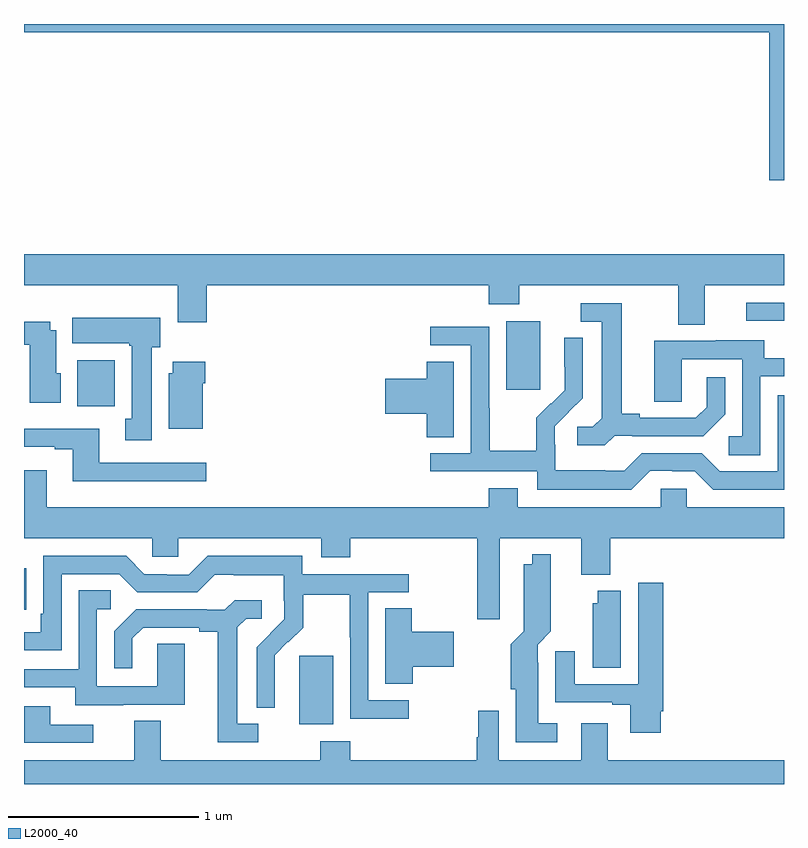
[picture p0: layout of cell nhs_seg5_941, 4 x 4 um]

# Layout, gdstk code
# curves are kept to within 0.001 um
import gdstk
lib = gdstk.Library(unit=1e-6, precision=1e-09)
def R(c, l, rs):  # rectangles x0, y0, x1, y1
    for r in rs: c.add(gdstk.rectangle(r[:2], r[2:], *l))
def P(c, l, *ps):  # polygons
    for p in ps: c.add(gdstk.Polygon(p, *l))
L2000_40 = (2000, 40)

nhs_seg5_941 = lib.new_cell('nhs_seg5_941')
R(nhs_seg5_941, L2000_40, [(172.448,857.114,172.627,857.475), (171,857.716,171.011,857.935), (171.281,858.788,171.478,859.03), (173.537,858.873,173.716,859.234), (174.801,859.236,175,859.332)])
P(nhs_seg5_941, L2000_40, [(175,860.799),(171,860.799),(171,860.756),(174.923,860.756),(174.923,859.977),(175,859.977)],
  [(174.583,859.424),(175,859.424),(175,859.588),(171,859.588),(171,859.424),(171.809,859.424),(171.809,859.23),(171.962,859.23),(171.962,859.424),(173.447,859.424),(173.447,859.325),(173.607,859.325),(173.607,859.424),(174.443,859.424),(174.443,859.216),(174.583,859.216)],
  [(174.108,858.633),(174.202,858.633),(174.202,858.63),(174.574,858.63),(174.69,858.746),(174.69,858.94),(174.593,858.94),(174.593,858.783),(174.536,858.726),(174.241,858.726),(174.241,858.749),(174.145,858.749),(174.145,859.329),(173.931,859.329),(173.931,859.233),(174.041,859.233),(174.041,858.725),(173.994,858.678),(173.913,858.678),(173.913,858.581),(174.056,858.581)],
  [(171.673,859.098),(171.718,859.098),(171.718,859.252),(171.254,859.252),(171.254,859.118),(171.553,859.118),(171.553,859.105),(171.566,859.105),(171.566,858.722),(171.533,858.722),(171.533,858.609),(171.673,858.609)],
  [(171.193,858.96),(171.169,858.96),(171.169,859.186),(171.139,859.186),(171.139,859.231),(171,859.231),(171,859.112),(171.029,859.112),(171.029,858.806),(171.193,858.806)],
  [(174.297,858.447),(174.413,858.447),(174.413,858.444),(174.531,858.444),(174.627,858.348),(175,858.348),(175,858.846),(174.966,858.846),(174.966,858.444),(174.663,858.444),(174.567,858.54),(174.252,858.54),(174.159,858.447),(174.059,858.447),(174.059,858.451),(173.796,858.451),(173.796,858.585),(173.794,858.585),(173.794,858.682),(173.94,858.83),(173.94,859.148),(173.844,859.148),(173.844,858.994),(173.846,858.994),(173.846,858.872),(173.775,858.801),(173.772,858.804),(173.695,858.727),(173.695,858.553),(173.451,858.553),(173.451,858.776),(173.448,858.776),(173.448,859.206),(173.139,859.206),(173.139,859.107),(173.352,859.107),(173.352,858.54),(173.139,858.54),(173.139,858.444),(173.7,858.444),(173.7,858.347),(174.197,858.347)],
  [(174.876,858.945),(175,858.945),(175,859.041),(174.895,859.041),(174.895,859.135),(174.641,859.135),(174.641,859.131),(174.317,859.131),(174.317,858.811),(174.462,858.811),(174.462,859.035),(174.78,859.035),(174.78,858.63),(174.708,858.63),(174.708,858.529),(174.876,858.529)],
  [(173.263,859.022),(173.12,859.022),(173.12,858.932),(172.902,858.932),(172.902,858.749),(173.12,858.749),(173.12,858.625),(173.263,858.625)],
  [(171.94,858.908),(171.953,858.908),(171.953,859.021),(171.782,859.021),(171.782,858.96),(171.761,858.96),(171.761,858.668),(171.94,858.668)],
  [(171.958,858.489),(171.397,858.489),(171.397,858.67),(171,858.67),(171,858.573),(171.161,858.573),(171.161,858.561),(171.257,858.561),(171.257,858.392),(171.958,858.392)],
  [(173.503,858.092),(173.933,858.092),(173.933,857.9),(174.086,857.9),(174.086,858.092),(175,858.092),(175,858.256),(174.489,858.256),(174.489,858.354),(174.351,858.354),(174.351,858.256),(173.599,858.256),(173.599,858.355),(173.447,858.355),(173.447,858.256),(171.121,858.256),(171.121,858.451),(171,858.451),(171,858.092),(171.675,858.092),(171.675,857.994),(171.813,857.994),(171.813,858.092),(172.565,858.092),(172.565,857.993),(172.718,857.993),(172.718,858.092),(173.386,858.092),(173.386,857.667),(173.503,857.667)],
  [(173.806,857.119),(173.707,857.119),(173.707,857.438),(173.703,857.438),(173.703,857.532),(173.773,857.602),(173.772,858.007),(173.675,858.007),(173.675,857.956),(173.63,857.956),(173.63,857.602),(173.563,857.535),(173.563,857.298),(173.588,857.298),(173.588,857.018),(173.806,857.018)],
  [(173.026,857.241),(172.812,857.241),(172.812,857.808),(173.026,857.808),(173.026,857.904),(172.464,857.904),(172.464,858.001),(171.967,858.001),(171.867,857.901),(171.752,857.901),(171.752,857.904),(171.633,857.904),(171.537,858),(171.102,858),(171.102,857.695),(171.089,857.695),(171.089,857.598),(171,857.598),(171,857.502),(171.198,857.502),(171.198,857.904),(171.501,857.904),(171.597,857.808),(171.912,857.808),(172.005,857.901),(172.105,857.901),(172.105,857.897),(172.368,857.897),(172.368,857.763),(172.37,857.763),(172.37,857.666),(172.224,857.518),(172.224,857.2),(172.32,857.2),(172.319,857.477),(172.389,857.547),(172.392,857.544),(172.469,857.621),(172.469,857.796),(172.714,857.796),(172.714,857.572),(172.716,857.572),(172.716,857.143),(173.026,857.143)],
  [(174.352,857.182),(174.365,857.182),(174.365,857.857),(174.233,857.857),(174.233,857.325),(173.899,857.325),(173.899,857.497),(173.795,857.497),(173.795,857.229),(174.095,857.229),(174.095,857.217),(174.191,857.217),(174.191,857.07),(174.352,857.07)],
  [(171.523,857.217),(171.847,857.217),(171.847,857.537),(171.702,857.537),(171.702,857.313),(171.384,857.313),(171.384,857.718),(171.457,857.718),(171.457,857.819),(171.288,857.819),(171.288,857.403),(171,857.403),(171,857.307),(171.269,857.307),(171.269,857.213),(171.523,857.213)],
  [(174.142,857.815),(174.02,857.815),(174.02,857.751),(173.993,857.751),(173.993,857.41),(174.142,857.41)],
  [(172.234,857.115),(172.123,857.115),(172.123,857.623),(172.17,857.67),(172.252,857.67),(172.252,857.767),(172.108,857.767),(172.056,857.715),(171.962,857.715),(171.962,857.718),(171.59,857.718),(171.474,857.602),(171.474,857.409),(171.571,857.409),(171.571,857.565),(171.628,857.622),(171.923,857.622),(171.923,857.6),(172.019,857.6),(172.019,857.019),(172.234,857.019)],
  [(173.045,857.417),(173.263,857.417),(173.263,857.6),(173.04,857.6),(173.04,857.723),(172.901,857.723),(172.901,857.326),(173.045,857.326)],
  [(171.364,857.112),(171.139,857.112),(171.139,857.208),(171,857.208),(171,857.016),(171.364,857.016)],
  [(175,856.924),(174.073,856.924),(174.073,857.119),(173.933,857.119),(173.933,856.924),(173.499,856.924),(173.499,857.185),(173.391,857.185),(173.391,857.046),(173.383,857.046),(173.383,856.924),(172.718,856.924),(172.718,857.023),(172.558,857.023),(172.558,856.924),(171.721,856.924),(171.721,857.132),(171.581,857.132),(171.581,856.924),(171,856.924),(171,856.799),(175,856.799)])

lib.write_gds('nhs_seg5_941.gds')
